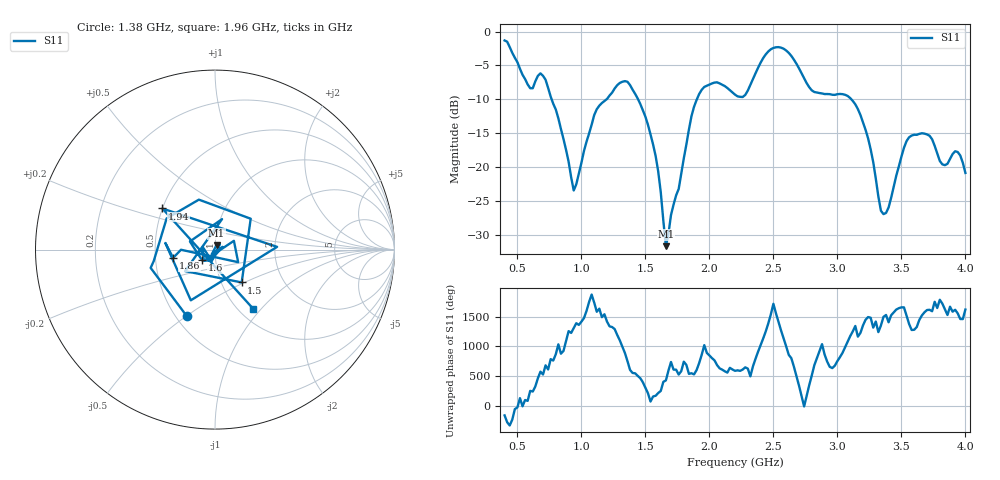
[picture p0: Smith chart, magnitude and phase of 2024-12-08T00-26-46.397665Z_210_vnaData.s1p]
!Created with skrf (http://scikit-rf.org).
# Hz S RI R 50.0
!freq ReS11 ImS11
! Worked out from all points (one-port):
!   181 points, 400 MHz to 4 GHz, reference 50 ohm
!   lowest |S11| = -31.7 dB at 1.66 GHz (marker M1), VSWR 1.05, Z = 50.8 + j2.51 ohm
!   |S11| at or under -10 dB: 767.6 MHz to 1.196 GHz (428.7 MHz wide, 43.7 % of centre); 1.443 GHz to 1.902 GHz (459 MHz wide, 27.4 % of centre); 3.109 GHz to end of sweep
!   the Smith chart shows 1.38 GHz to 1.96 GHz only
!   S11 on the Smith chart (normalised r, x): 1.38 GHz: 0.57, -0.50; 1.5 GHz: 1.25, -0.48; 1.6 GHz: 0.86, -0.10; 1.86 GHz: 0.62, -0.06; 1.94 GHz: 0.50, +0.27; 1.96 GHz: 1.16, -0.90
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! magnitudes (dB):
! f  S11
! 400 MHz  -1.3
! 600 MHz  -8.4
! 720 MHz  -7.1
! 860 MHz  -15.9
! 940 MHz  -23.4
! 1.1 GHz  -12.3
! 1.3 GHz  -7.6
! 1.38 GHz  -7.9
! 1.5 GHz  -12.6
! 1.6 GHz  -20.6
! 1.66 GHz  -31.7
! 1.76 GHz  -23.2
! 1.86 GHz  -12.5
! 1.94 GHz  -8.6
! 1.96 GHz  -8.2
! 2.2 GHz  -9.3
! 2.28 GHz  -9.4
! 2.48 GHz  -2.6
! 2.66 GHz  -4.1
! 2.8 GHz  -8.7
! 3.1 GHz  -9.8
! 3.24 GHz  -15.8
! 3.36 GHz  -26.9
! 3.56 GHz  -15.6
! 3.72 GHz  -15.4
! 3.84 GHz  -19.7
! 3.94 GHz  -17.8
! 4 GHz  -20.9
